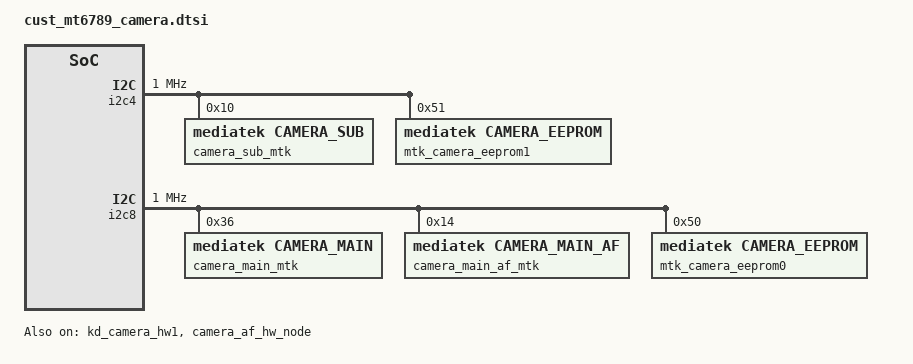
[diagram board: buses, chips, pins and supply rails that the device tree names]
// SPDX-License-Identifier: (GPL-2.0 OR MIT)
/*
 * Copyright (c) 2019 MediaTek Inc.
 */
/* CAMERA GPIO standardization */
&pio {
	camera_pins_cam0_rst_0: cam0@0 {
		pins_cmd_dat {
			pinmux = <PINMUX_GPIO20__FUNC_GPIO20>;
			slew-rate = <1>;
			output-low;
		};
	};
	camera_pins_cam0_rst_1: cam0@1 {
		pins_cmd_dat {
			pinmux = <PINMUX_GPIO20__FUNC_GPIO20>;
			slew-rate = <1>;
			output-high;
		};
	};
	camera_pins_cam1_rst_0: cam1@0 {
		pins_cmd_dat {
			pinmux = <PINMUX_GPIO16__FUNC_GPIO16>;
			slew-rate = <1>;
			output-low;
		};
	};
	camera_pins_cam1_rst_1: cam1@1 {
		pins_cmd_dat {
			pinmux = <PINMUX_GPIO16__FUNC_GPIO16>;
			slew-rate = <1>;
			output-high;
		};
	};
	camera_pins_cam0_vcamd_0: cam0@vcam0 {
		pins_cmd_dat {
			pinmux = <PINMUX_GPIO37__FUNC_GPIO37>;
			slew-rate = <1>;
			output-low;
		};
	};
	camera_pins_cam0_vcamd_1: cam0@vcam1 {
		pins_cmd_dat {
			pinmux = <PINMUX_GPIO37__FUNC_GPIO37>;
			slew-rate = <1>;
			output-high;
		};
	};
	camera_pins_cam0_vcama_0: cam0@vcam2 {
		pins_cmd_dat {
			pinmux = <PINMUX_GPIO155__FUNC_GPIO155>;
			slew-rate = <1>;
			output-low;
		};
	};
	camera_pins_cam0_vcama_1: cam0@vcam3 {
		pins_cmd_dat {
			pinmux = <PINMUX_GPIO155__FUNC_GPIO155>;
			slew-rate = <1>;
			output-high;
		};
	};
	camera_pins_cam1_vcamd_0: cam1@vcam0 {
		pins_cmd_dat {
			pinmux = <PINMUX_GPIO154__FUNC_GPIO154>;
			slew-rate = <1>;
			output-low;
		};
	};
	camera_pins_cam1_vcamd_1: cam1@vcam1 {
		pins_cmd_dat {
			pinmux = <PINMUX_GPIO154__FUNC_GPIO154>;
			slew-rate = <1>;
			output-high;
		};
	};
	camera_pins_cam1_vcama_0: cam1@vcam2 {
		pins_cmd_dat {
			pinmux = <PINMUX_GPIO152__FUNC_GPIO152>;
			slew-rate = <1>;
			output-low;
		};
	};
	camera_pins_cam1_vcama_1: cam1@vcam3 {
		pins_cmd_dat {
			pinmux = <PINMUX_GPIO152__FUNC_GPIO152>;
			slew-rate = <1>;
			output-high;
		};
	};
	camera_pins_cam0_mclk_off: camera_pins_cam0_mclk_off {
		pins_cmd_dat {
			pinmux = <PINMUX_GPIO128__FUNC_GPIO128>;
			drive-strength = <1>;
		};
	};
	camera_pins_cam0_mclk_2ma: camera_pins_cam0_mclk_2ma {
		pins_cmd_dat {
			pinmux = <PINMUX_GPIO128__FUNC_CMMCLK2>;
			drive-strength = <0>;
		};
	};
	camera_pins_cam0_mclk_4ma: camera_pins_cam0_mclk_4ma {
		pins_cmd_dat {
			pinmux = <PINMUX_GPIO128__FUNC_CMMCLK2>;
			drive-strength = <1>;
		};
	};
	camera_pins_cam0_mclk_6ma: camera_pins_cam0_mclk_6ma {
		pins_cmd_dat {
			pinmux = <PINMUX_GPIO128__FUNC_CMMCLK2>;
			drive-strength = <2>;
		};
	};
	camera_pins_cam0_mclk_8ma: camera_pins_cam0_mclk_8ma {
		pins_cmd_dat {
			pinmux = <PINMUX_GPIO128__FUNC_CMMCLK2>;
			drive-strength = <3>;
		};
	};
	camera_pins_cam1_mclk_off: camera_pins_cam1_mclk_off {
		pins_cmd_dat {
			pinmux = <PINMUX_GPIO126__FUNC_GPIO126>;
			drive-strength = <1>;
		};
	};
	camera_pins_cam1_mclk_2ma: camera_pins_cam1_mclk_2ma {
		pins_cmd_dat {
			pinmux = <PINMUX_GPIO126__FUNC_CMMCLK0>;
			drive-strength = <0>;
		};
	};
	camera_pins_cam1_mclk_4ma: camera_pins_cam1_mclk_4ma {
		pins_cmd_dat {
			pinmux = <PINMUX_GPIO126__FUNC_CMMCLK0>;
			drive-strength = <1>;
		};
	};
	camera_pins_cam1_mclk_6ma: camera_pins_cam1_mclk_6ma {
		pins_cmd_dat {
			pinmux = <PINMUX_GPIO126__FUNC_CMMCLK0>;
			drive-strength = <2>;
		};
	};
	camera_pins_cam1_mclk_8ma: camera_pins_cam1_mclk_8ma {
		pins_cmd_dat {
			pinmux = <PINMUX_GPIO126__FUNC_CMMCLK0>;
			drive-strength = <3>;
		};
	};
	camera_pins_default: camdefault {
	};
};
&kd_camera_hw1 {
	pinctrl-names = "default",
			"cam0_rst0", "cam0_rst1",
			"cam1_rst0", "cam1_rst1",
			"cam0_ldo_vcamd_0", "cam0_ldo_vcamd_1",
			"cam0_ldo_vcama_0", "cam0_ldo_vcama_1",
			"cam1_ldo_vcamd_0", "cam1_ldo_vcamd_1",
			"cam1_ldo_vcama_0", "cam1_ldo_vcama_1",
			"cam0_mclk_off",
			"cam0_mclk_2mA", "cam0_mclk_4mA",
			"cam0_mclk_6mA", "cam0_mclk_8mA",
			"cam1_mclk_off",
			"cam1_mclk_2mA", "cam1_mclk_4mA",
			"cam1_mclk_6mA", "cam1_mclk_8mA";
	pinctrl-0 = <&camera_pins_default>;
	pinctrl-1 = <&camera_pins_cam0_rst_0>;
	pinctrl-2 = <&camera_pins_cam0_rst_1>;
	pinctrl-3 = <&camera_pins_cam1_rst_0>;
	pinctrl-4 = <&camera_pins_cam1_rst_1>;
	pinctrl-5 = <&camera_pins_cam0_vcamd_0>;
	pinctrl-6 = <&camera_pins_cam0_vcamd_1>;
	pinctrl-7 = <&camera_pins_cam0_vcama_0>;
	pinctrl-8 = <&camera_pins_cam0_vcama_1>;
	pinctrl-9 = <&camera_pins_cam1_vcamd_0>;
	pinctrl-10 = <&camera_pins_cam1_vcamd_1>;
	pinctrl-11 = <&camera_pins_cam1_vcama_0>;
	pinctrl-12 = <&camera_pins_cam1_vcama_1>;
	pinctrl-13 = <&camera_pins_cam0_mclk_off>;
	pinctrl-14 = <&camera_pins_cam0_mclk_2ma>;
	pinctrl-15 = <&camera_pins_cam0_mclk_4ma>;
	pinctrl-16 = <&camera_pins_cam0_mclk_6ma>;
	pinctrl-17 = <&camera_pins_cam0_mclk_8ma>;
	pinctrl-18 = <&camera_pins_cam1_mclk_off>;
	pinctrl-19 = <&camera_pins_cam1_mclk_2ma>;
	pinctrl-20 = <&camera_pins_cam1_mclk_4ma>;
	pinctrl-21 = <&camera_pins_cam1_mclk_6ma>;
	pinctrl-22 = <&camera_pins_cam1_mclk_8ma>;
	cam0_vcamio-supply = <&mt6358_vrf18_reg>;
	cam1_vcamio-supply = <&mt6358_vrf18_reg>;
	cam0_vcamaf-supply = <&mt6358_vibr_reg>;
	cam0_enable_sensor = "s5k4h7yx_mipi_raw sc820cs2st_mipi_raw";
	cam1_enable_sensor = "sc820cs_mipi_raw s5k4h7yx2st_mipi_raw";
	cam0_pin_mclk = "mclk";
	cam0_pin_rst = "gpio";
	cam0_pin_vcama = "gpio";
	cam0_pin_vcamio = "regulator";
	cam0_pin_vcamd = "gpio";
	cam0_pin_vcamaf = "regulator";
	cam1_pin_mclk = "mclk";
	cam1_pin_rst = "gpio";
	cam1_pin_vcama = "gpio";
	cam1_pin_vcamio = "regulator";
	cam1_pin_vcamd = "gpio";
	status = "okay";
};
/* CAMERA GPIO end */
/* CAMERA AF end */
&i2c4 {
	status = "okay";
	clock-frequency = <1000000>;
	#address-cells = <1>;
	#size-cells = <0>;

	camera_sub_mtk:camera_sub@10 {
		compatible = "mediatek,camera_sub";
		#thermal-sensor-cells = <0>;
		reg = <0x10>;
		status = "okay";
	};
	mtk_camera_eeprom1:camera_eeprom1@51 {
		compatible = "mediatek,camera_eeprom";
		reg = <0x51>;
		status = "okay";
	};
};
&i2c8 {
	status = "okay";
	clock-frequency = <1000000>;
	#address-cells = <1>;
	#size-cells = <0>;

	camera_main_mtk:camera_main@36 {
		compatible = "mediatek,camera_main";
		#thermal-sensor-cells = <0>;
		reg = <0x36>;
		status = "okay";
	};
	camera_main_af_mtk: camera_main_af@14{
		compatible = "mediatek,camera_main_af";
		reg = <0x14>;
        	status = "okay";
	};
	mtk_camera_eeprom0:camera_eeprom0@50 {
		compatible = "mediatek,camera_eeprom";
		reg = <0x50>;
		status = "okay";
	};
};
&camera_af_hw_node {
        camaf_m1_pmic-supply = <&mt6358_vibr_reg>;
        status = "okay";
};
